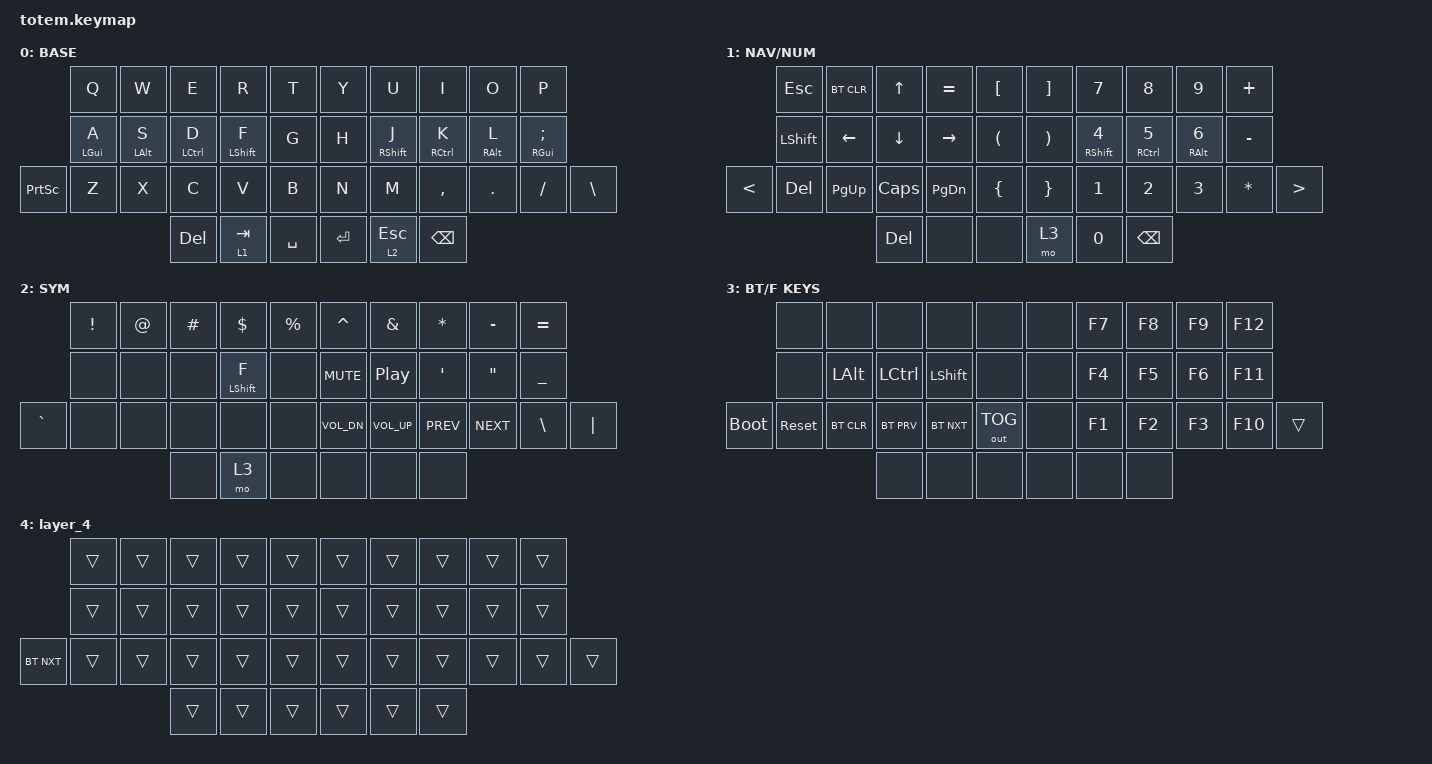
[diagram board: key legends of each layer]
//
//                                                        ▀▀▀▀▀     ▀▀▀▀▀          ▀▀█▀▀
//                                                        ▄▀▀▀▄  ▄  ▄▀▀▀▄  ▄  ▄▀▀▀▄  █  ▄▀▀▀▄
//                                                        █   █  █  █   █  █  █   █  █  █   █
//                                                         ▀▀▀   █   ▀▀▀   █   ▀▀▀   ▀   ▀▀▀
//                                                               █      ▄▄▄█▄▄▄    █   █  
//                                                               ▀      █  █  █     █▄█
//                                                             ▀▀▀▀▀    █  █  █      ▀
//                                                                      ▀  ▀  ▀
//
// ▄▄▄▄▄▄▄▄▄▄▄▄▄▄▄▄▄▄▄▄▄▄▄▄▄▄▄▄▄▄▄▄▄▄▄▄▄▄▄▄▄▄▄▄▄▄▄▄▄▄▄▄▄▄▄▄▄▄▄▄▄▄▄▄▄▄▄▄▄▄▄▄▄▄▄▄▄▄▄▄▄▄▄▄▄▄▄▄▄▄▄▄▄▄▄▄▄▄▄▄▄▄▄▄▄▄▄▄▄▄▄▄▄▄▄▄▄▄▄▄▄▄▄▄▄▄▄▄▄▄▄▄▄▄▄▄▄▄▄▄▄▄▄▄▄▄▄▄▄

#include <behaviors.dtsi>
#include <dt-bindings/zmk/bt.h>
#include <dt-bindings/zmk/keys.h>
#include <dt-bindings/zmk/outputs.h>

#define BASE 0
#define NAV  1
#define SYM  2
#define ADJ  3

&mt {
    quick-tap-ms = <150>;
    global-quick-tap;
    flavor = "tap-preferred";
    tapping-term-ms = <150>;
};

/ {
    macros {
        lccemail: lccemail {
            compatible = "zmk,behavior-macro";
            #binding-cells = <0>;
            bindings = <&none &kp R &kp Y &kp A &kp N &kp UNDER &kp W &kp E &kp B &kp B &kp AT &kp L &kp C &kp C &kp A &kp DOT &kp C &kp O &kp M>;
            label = "LCCEMAIL";
        };
    };

    combos {
        compatible = "zmk,combos";

        Enter {
            bindings = <&kp RET>;
            key-positions = <16 17 18>;
        };

        Left_Hand_Tilde {
            bindings = <&kp TILDE>;
            key-positions = <10 11>;
        };

        Right_Hand_Forward_Slash {
            bindings = <&kp SLASH>;
            key-positions = <19 18>;
        };

        Left_Hand_Tab {
            bindings = <&kp TAB>;
            key-positions = <12 13 11>;
        };

        LCCA_Email {
            bindings = <&lccemail>;
            key-positions = <13 12 11 10>;
        };
    };

    keymap {
        compatible = "zmk,keymap";

        // ▄▄▄▄▄▄▄▄▄▄▄▄▄▄▄▄▄▄▄▄▄▄▄▄▄▄▄▄▄▄▄▄▄▄▄▄▄▄▄▄▄▄▄▄▄▄▄▄▄▄▄▄▄▄▄▄▄▄▄▄▄▄▄▄▄▄▄▄▄▄▄▄▄▄▄▄▄▄▄▄▄▄▄▄▄▄▄▄▄▄▄▄▄▄▄▄▄▄▄▄▄▄▄▄▄▄▄▄▄▄▄▄▄▄▄▄▄▄▄▄▄▄▄▄▄▄▄▄▄▄▄▄▄▄▄▄▄▄▄▄▄▄▄▄▄▄▄▄▄

        base_layer {
            // ┏━━━━━━━━━━━━━━━━━━━━━━━━━━━━━━━━━━━━━━━┓

            label = "BASE";

            // ┗━━━━━━━━━━━━━━━━━━━━━━━━━━━━━━━━━━━━━━━┛
            //             ┏━━━━━━━━━━━┳━━━━━━━━━━━┳━━━━━━━━━━━┳━━━━━━━━━━━┳━━━━━━━━━━━┓   ┏━━━━━━━━━━━┳━━━━━━━━━━━┳━━━━━━━━━━━┳━━━━━━━━━━━┳━━━━━━━━━━━┓
            //             ┃     Q     ┃     W     ┃     E     ┃     R     ┃     T     ┃   ┃     Y     ┃     U     ┃     I     ┃     O     ┃     p     ┃
            //             ┣━━━━━━━━━━━╋━━━━━━━━━━━╋━━━━━━━━━━━╋━━━━━━━━━━━╋━━━━━━━━━━━┫   ┣━━━━━━━━━━━╋━━━━━━━━━━━╋━━━━━━━━━━━╋━━━━━━━━━━━╋━━━━━━━━━━━┫
            //             ┃     A     ┃     S     ┃     D     ┃     F     ┃     G     ┃   ┃     H     ┃     J     ┃     K     ┃     L     ┃     ;     ┃
            // ┏━━━━━━━━━━━╋━━━━━━━━━━━╋━━━━━━━━━━━╋━━━━━━━━━━━╋━━━━━━━━━━━╋━━━━━━━━━━━┫   ┣━━━━━━━━━━━╋━━━━━━━━━━━╋━━━━━━━━━━━╋━━━━━━━━━━━╋━━━━━━━━━━━╋━━━━━━━━━━━┓
            // ┃ PRINTSCRN ┃     Z     ┃     X     ┃     C     ┃     V     ┃     B     ┃   ┃     N     ┃     M     ┃     ,     ┃     .     ┃     /     ┃     \     ┃
            // ┗━━━━━━━━━━━┻━━━━━━━━━━━┻━━━━━━━━━━━╋━━━━━━━━━━━╋━━━━━━━━━━━╋━━━━━━━━━━━┫   ┣━━━━━━━━━━━╋━━━━━━━━━━━╋━━━━━━━━━━━╋━━━━━━━━━━━┻━━━━━━━━━━━┻━━━━━━━━━━━┛
            //                                     ┃    DEL    ┃  NAV/TAB  ┃    SPC    ┃   ┃   ENTER   ┃  SYM/ESC  ┃   BSPC    ┃
            //                                     ┗━━━━━━━━━━━┻━━━━━━━━━━━┻━━━━━━━━━━━┛   ┗━━━━━━━━━━━┻━━━━━━━━━━━┻━━━━━━━━━━━┛

            bindings = <
           &kp Q       &kp W       &kp E        &kp R        &kp T        &kp Y    &kp U        &kp I        &kp O       &kp P
           &mt LGUI A  &mt LALT S  &mt LCTRL D  &mt LSHFT F  &kp G        &kp H    &mt RSHFT J  &mt RCTRL K  &mt RALT L  &mt RGUI SEMICOLON
&kp PSCRN  &kp Z       &kp X       &kp C        &kp V        &kp B        &kp N    &kp M        &kp COMMA    &kp DOT     &kp FSLH            &kp BSLH
                                   &kp DEL      &lt 1 TAB    &kp SPACE    &kp RET  &lt 2 ESC    &kp BSPC
            >;
        };

        // ▄▄▄▄▄▄▄▄▄▄▄▄▄▄▄▄▄▄▄▄▄▄▄▄▄▄▄▄▄▄▄▄▄▄▄▄▄▄▄▄▄▄▄▄▄▄▄▄▄▄▄▄▄▄▄▄▄▄▄▄▄▄▄▄▄▄▄▄▄▄▄▄▄▄▄▄▄▄▄▄▄▄▄▄▄▄▄▄▄▄▄▄▄▄▄▄▄▄▄▄▄▄▄▄▄▄▄▄▄▄▄▄▄▄▄▄▄▄▄▄▄▄▄▄▄▄▄▄▄▄▄▄▄▄▄▄▄▄▄▄▄▄▄▄▄▄▄▄▄

        nav_layer {
            // ┏━━━━━━━━━━━━━━━━━━━━━━━━━━━━━━━━━━━━━━━┓

            label = "NAV/NUM";

            // ┗━━━━━━━━━━━━━━━━━━━━━━━━━━━━━━━━━━━━━━━┛
            //             ┏━━━━━━━━━━━┳━━━━━━━━━━━┳━━━━━━━━━━━┳━━━━━━━━━━━┳━━━━━━━━━━━┓   ┏━━━━━━━━━━━┳━━━━━━━━━━━┳━━━━━━━━━━━┳━━━━━━━━━━━┳━━━━━━━━━━━┓
            //             ┃           ┃           ┃     UP    ┃           ┃     {     ┃   ┃     }     ┃     7     ┃     8     ┃     9     ┃     +     ┃
            //             ┣━━━━━━━━━━━╋━━━━━━━━━━━╋━━━━━━━━━━━╋━━━━━━━━━━━╋━━━━━━━━━━━┫   ┣━━━━━━━━━━━╋━━━━━━━━━━━╋━━━━━━━━━━━╋━━━━━━━━━━━╋━━━━━━━━━━━┫
            //             ┃   SHIFT   ┃   LEFT    ┃    DOWN   ┃   RIGHT   ┃     [     ┃   ┃     ]     ┃     4     ┃     5     ┃     6     ┃     -     ┃
            // ┏━━━━━━━━━━━╋━━━━━━━━━━━╋━━━━━━━━━━━╋━━━━━━━━━━━╋━━━━━━━━━━━╋━━━━━━━━━━━┫   ┣━━━━━━━━━━━╋━━━━━━━━━━━╋━━━━━━━━━━━╋━━━━━━━━━━━╋━━━━━━━━━━━╋━━━━━━━━━━━┓
            // ┃           ┃    DEL    ┃   P UP    ┃  C LOCK   ┃  P DOWN   ┃     (     ┃   ┃     )     ┃     1     ┃     2     ┃     3     ┃     *     ┃           ┃
            // ┗━━━━━━━━━━━┻━━━━━━━━━━━┻━━━━━━━━━━━╋━━━━━━━━━━━╋━━━━━━━━━━━╋━━━━━━━━━━━┫   ┣━━━━━━━━━━━╋━━━━━━━━━━━╋━━━━━━━━━━━╋━━━━━━━━━━━┻━━━━━━━━━━━┻━━━━━━━━━━━┛
            //                                     ┃           ┃    TAB    ┃    SPC    ┃   ┃    DEL    ┃     0     ┃    BSPC   ┃
            //                                     ┗━━━━━━━━━━━┻━━━━━━━━━━━┻━━━━━━━━━━━┛   ┗━━━━━━━━━━━┻━━━━━━━━━━━┻━━━━━━━━━━━┛

            bindings = <
               &kp ESC    &bt BT_CLR  &kp UP      &kp EQUAL  &kp LEFT_BRACKET        &kp RIGHT_BRACKET      &kp N7        &kp N8        &kp N9       &kp PLUS
               &kp LSHFT  &kp LEFT    &kp DOWN    &kp RIGHT  &kp LEFT_PARENTHESIS    &kp RIGHT_PARENTHESIS  &mt RSHFT N4  &mt RCTRL N5  &mt RALT N6  &kp MINUS
&kp LESS_THAN  &kp DEL    &kp PG_UP   &kp CAPS    &kp PG_DN  &kp LEFT_BRACE          &kp RIGHT_BRACE        &kp N1        &kp N2        &kp N3       &kp ASTRK  &kp GREATER_THAN
                                      &kp DELETE  &none      &none                   &mo 3                  &kp N0        &kp BSPC
            >;
        };

        // ▄▄▄▄▄▄▄▄▄▄▄▄▄▄▄▄▄▄▄▄▄▄▄▄▄▄▄▄▄▄▄▄▄▄▄▄▄▄▄▄▄▄▄▄▄▄▄▄▄▄▄▄▄▄▄▄▄▄▄▄▄▄▄▄▄▄▄▄▄▄▄▄▄▄▄▄▄▄▄▄▄▄▄▄▄▄▄▄▄▄▄▄▄▄▄▄▄▄▄▄▄▄▄▄▄▄▄▄▄▄▄▄▄▄▄▄▄▄▄▄▄▄▄▄▄▄▄▄▄▄▄▄▄▄▄▄▄▄▄▄▄▄▄▄▄▄▄▄▄

        sym_layer {
            // ┏━━━━━━━━━━━━━━━━━━━━━━━━━━━━━━━━━━━━━━━┓

            label = "SYM";

            // ┗━━━━━━━━━━━━━━━━━━━━━━━━━━━━━━━━━━━━━━━┛
            //             ┏━━━━━━━━━━━┳━━━━━━━━━━━┳━━━━━━━━━━━┳━━━━━━━━━━━┳━━━━━━━━━━━┓   ┏━━━━━━━━━━━┳━━━━━━━━━━━┳━━━━━━━━━━━┳━━━━━━━━━━━┳━━━━━━━━━━━┓
            //             ┃     !     ┃     @     ┃     #     ┃     $     ┃     %     ┃   ┃     ˆ     ┃     &     ┃     *     ┃     -     ┃     =     ┃
            //             ┣━━━━━━━━━━━╋━━━━━━━━━━━╋━━━━━━━━━━━╋━━━━━━━━━━━╋━━━━━━━━━━━┫   ┣━━━━━━━━━━━╋━━━━━━━━━━━╋━━━━━━━━━━━╋━━━━━━━━━━━╋━━━━━━━━━━━┫
            //             ┃           ┃           ┃           ┃   SHIFT   ┃           ┃   ┃    MUTE   ┃PLAY PAUSE ┃     '     ┃     "     ┃     _     ┃
            // ┏━━━━━━━━━━━╋━━━━━━━━━━━╋━━━━━━━━━━━╋━━━━━━━━━━━╋━━━━━━━━━━━╋━━━━━━━━━━━┫   ┣━━━━━━━━━━━╋━━━━━━━━━━━╋━━━━━━━━━━━╋━━━━━━━━━━━╋━━━━━━━━━━━╋━━━━━━━━━━━┓
            // ┃     `     ┃           ┃           ┃           ┃           ┃           ┃   ┃   VOL-    ┃   VOL+    ┃   LAST    ┃   NEXT    ┃     \     ┃     |     ┃
            // ┗━━━━━━━━━━━┻━━━━━━━━━━━┻━━━━━━━━━━━╋━━━━━━━━━━━╋━━━━━━━━━━━╋━━━━━━━━━━━┫   ┣━━━━━━━━━━━╋━━━━━━━━━━━╋━━━━━━━━━━━╋━━━━━━━━━━━┻━━━━━━━━━━━┻━━━━━━━━━━━┛
            //                                     ┃           ┃    ADJ    ┃           ┃   ┃           ┃           ┃           
            //                                     ┗━━━━━━━━━━━┻━━━━━━━━━━━┻━━━━━━━━━━━┛   ┗━━━━━━━━━━━┻━━━━━━━━━━━┻━━━━━━━━━━━┛

            bindings = <
           &kp EXCL  &kp AT  &kp HASH  &kp DLLR      &kp PRCNT    &kp CARET     &kp AMPS      &kp ASTRK   &kp MINUS   &kp EQUAL
           &none     &none   &none     &mt LSHIFT F  &none        &kp C_MUTE    &kp C_PP      &kp SQT     &kp DQT     &kp UNDERSCORE
&kp GRAVE  &none     &none   &none     &none         &none        &kp C_VOL_DN  &kp C_VOL_UP  &kp C_PREV  &kp C_NEXT  &kp BSLH        &kp PIPE
                             &none     &mo 3         &none        &none         &none         &none
            >;
        };

        // ▄▄▄▄▄▄▄▄▄▄▄▄▄▄▄▄▄▄▄▄▄▄▄▄▄▄▄▄▄▄▄▄▄▄▄▄▄▄▄▄▄▄▄▄▄▄▄▄▄▄▄▄▄▄▄▄▄▄▄▄▄▄▄▄▄▄▄▄▄▄▄▄▄▄▄▄▄▄▄▄▄▄▄▄▄▄▄▄▄▄▄▄▄▄▄▄▄▄▄▄▄▄▄▄▄▄▄▄▄▄▄▄▄▄▄▄▄▄▄▄▄▄▄▄▄▄▄▄▄▄▄▄▄▄▄▄▄▄▄▄▄▄▄▄▄▄▄▄▄

        adjust_layer {
            // ┏━━━━━━━━━━━━━━━━━━━━━━━━━━━━━━━━━━━━━━━┓

            label = "BT/F KEYS";

            // ┗━━━━━━━━━━━━━━━━━━━━━━━━━━━━━━━━━━━━━━━┛
            //             ┏━━━━━━━━━━━┳━━━━━━━━━━━┳━━━━━━━━━━━┳━━━━━━━━━━━┳━━━━━━━━━━━┓   ┏━━━━━━━━━━━┳━━━━━━━━━━━┳━━━━━━━━━━━┳━━━━━━━━━━━┳━━━━━━━━━━━┓
            //             ┃           ┃           ┃           ┃           ┃           ┃   ┃           ┃    F7     ┃    F8     ┃    F9     ┃    F12    ┃
            //             ┣━━━━━━━━━━━╋━━━━━━━━━━━╋━━━━━━━━━━━╋━━━━━━━━━━━╋━━━━━━━━━━━┫   ┣━━━━━━━━━━━╋━━━━━━━━━━━╋━━━━━━━━━━━╋━━━━━━━━━━━╋━━━━━━━━━━━┫
            //             ┃           ┃    ALT    ┃  CONTROL  ┃   SHIFT   ┃           ┃   ┃           ┃    F4     ┃    F5     ┃    F6     ┃    F11    ┃
            // ┏━━━━━━━━━━━╋━━━━━━━━━━━╋━━━━━━━━━━━╋━━━━━━━━━━━╋━━━━━━━━━━━╋━━━━━━━━━━━┫   ┣━━━━━━━━━━━╋━━━━━━━━━━━╋━━━━━━━━━━━╋━━━━━━━━━━━╋━━━━━━━━━━━╋━━━━━━━━━━━┓
            // ┃ BOOTLOADER┃   RESET   ┃  BT CLEAR ┃  BT PREV  ┃  BT NEXT  ┃  OUT TOG  ┃   ┃           ┃    F1     ┃    F2     ┃    F3     ┃    F10    ┃           ┃
            // ┗━━━━━━━━━━━┻━━━━━━━━━━━┻━━━━━━━━━━━╋━━━━━━━━━━━╋━━━━━━━━━━━╋━━━━━━━━━━━┫   ┣━━━━━━━━━━━╋━━━━━━━━━━━╋━━━━━━━━━━━╋━━━━━━━━━━━┻━━━━━━━━━━━┻━━━━━━━━━━━┛
            //                                     ┃           ┃           ┃           ┃   ┃           ┃           ┃           ┃
            //                                     ┗━━━━━━━━━━━┻━━━━━━━━━━━┻━━━━━━━━━━━┛   ┗━━━━━━━━━━━┻━━━━━━━━━━━┻━━━━━━━━━━━┛

            bindings = <
             &none       &none       &none       &none       &none           &none  &kp F7  &kp F8  &kp F9  &kp F12
             &none       &kp LALT    &kp LCTRL   &kp LSHIFT  &none           &none  &kp F4  &kp F5  &kp F6  &kp F11
&bootloader  &sys_reset  &bt BT_CLR  &bt BT_PRV  &bt BT_NXT  &out OUT_TOG    &none  &kp F1  &kp F2  &kp F3  &kp F10  &trans
                                     &none       &none       &none           &none  &none   &none
            >;
        };

        layer_4 {
            bindings = <
            &trans  &trans  &trans  &trans  &trans    &trans  &trans  &trans  &trans  &trans
            &trans  &trans  &trans  &trans  &trans    &trans  &trans  &trans  &trans  &trans
&bt BT_NXT  &trans  &trans  &trans  &trans  &trans    &trans  &trans  &trans  &trans  &trans  &trans
                            &trans  &trans  &trans    &trans  &trans  &trans
            >;
        };

        // ▄▄▄▄▄▄▄▄▄▄▄▄▄▄▄▄▄▄▄▄▄▄▄▄▄▄▄▄▄▄▄▄▄▄▄▄▄▄▄▄▄▄▄▄▄▄▄▄▄▄▄▄▄▄▄▄▄▄▄▄▄▄▄▄▄▄▄▄▄▄▄▄▄▄▄▄▄▄▄▄▄▄▄▄▄▄▄▄▄▄▄▄▄▄▄▄▄▄▄▄▄▄▄▄▄▄▄▄▄▄▄▄▄▄▄▄▄▄▄▄▄▄▄▄▄▄▄▄▄▄▄▄▄▄▄▄▄▄▄▄▄▄▄▄▄▄▄▄▄
    };
};

